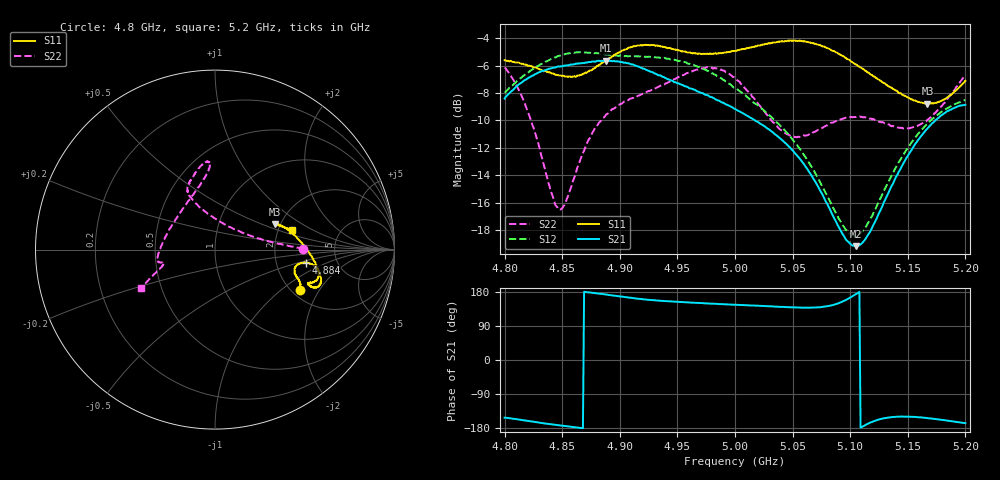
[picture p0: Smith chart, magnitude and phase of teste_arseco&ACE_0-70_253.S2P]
! Network Analyzer HP8722D
! Hewlett-Packard
! Data name: Linha & Wilkinson
! Saver's name: Rodrigo Anjos
! Comments: Teste da utilização de aquisição
! continua pelo VNA HP8722D
! Time and date: 8/5/2025 14:52
!  Frequency  S11  S21  S12  S22
# HZ  S  MA R 50
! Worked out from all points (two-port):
!   401 points, 4.8 GHz to 5.2 GHz, reference 50 ohm
!   highest |S21| = -5.63 dB at 4.888 GHz (marker M1); lowest = -19.2 dB at 5.105 GHz (marker M2)
!   |S21| within 3 dB of the highest: start of sweep to 4.987 GHz
!   lowest |S11| = -8.8 dB at 5.167 GHz (marker M3), VSWR 2.14, Z = 93.5 + j30.9 ohm
!   |S11| at or under -10 dB: nowhere
!   |S22| runs from -16.5 to -6.1 dB; largest |S21 - S12| = 1.1
!   S11 on the Smith chart (normalised r, x): 4.8 GHz: 2.22, -1.37; 4.884 GHz: 2.97, -0.58; 5.2 GHz: 2.36, +0.65
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4.8e9  0.5242 -25.2  0.3798 -152.3  0.3995 7.5  0.4929 0.6
4.818e9  0.5053 -20.8  0.4442 -159.7  0.4666 4.6  0.3602 5.1
4.846e9  0.4627 -16.2  0.4969 -172.0  0.5422 0.2  0.1522 54.7
4.853e9  0.4575 -14.5  0.5013 -174.5  0.5527 -1.1  0.1584 80.5
4.867e9  0.4637 -10.8  0.5112 -179.5  0.5595 -3.1  0.235 107.8
4.884e9  0.5113 -8.1  0.5215 174.3  0.5512 -4.2  0.3163 114.8
4.888e9  0.525 -8.0  0.5229 172.8  0.5498 -4.1  0.3318 115.3
4.911e9  0.5869 -11.6  0.506 163.7  0.542 -3.2  0.3813 113.6
4.934e9  0.5915 -16.7  0.4616 156.5  0.537 -4.1  0.4201 107.6
4.974e9  0.5528 -20.0  0.3925 149.7  0.4837 -7.7  0.4904 95.8
5e9  0.567 -20.9  0.3481 145.7  0.4161 -7.6  0.4507 94.5
5.041e9  0.6149 -19.0  0.2678 140.3  0.298 0.3  0.2899 128.3
5.052e9  0.6186 -17.5  0.2402 138.6  0.2625 3.1  0.2746 144.6
5.067e9  0.6051 -14.0  0.1973 138.2  0.2126 8.4  0.2847 165.0
5.094e9  0.5421 -4.1  0.1206 155.2  0.1302 34.8  0.3211 -173.3
5.105e9  0.506 1.1  0.1099 173.8  0.1201 56.2  0.3252 -169.8
5.116e9  0.4716 6.5  0.1217 -167.4  0.1347 76.6  0.3222 -167.7
5.134e9  0.4197 15.4  0.1749 -151.5  0.1916 94.1  0.3052 -166.5
5.151e9  0.3821 21.3  0.2387 -149.7  0.2549 98.8  0.2956 -164.9
5.167e9  0.3637 23.2  0.2951 -153.3  0.3073 99.5  0.318 -161.4
5.182e9  0.3785 20.9  0.3364 -159.0  0.3458 99.4  0.3665 -158.0
5.2e9  0.4408 14.6  0.3605 -166.7  0.3757 100.0  0.4635 -152.2
